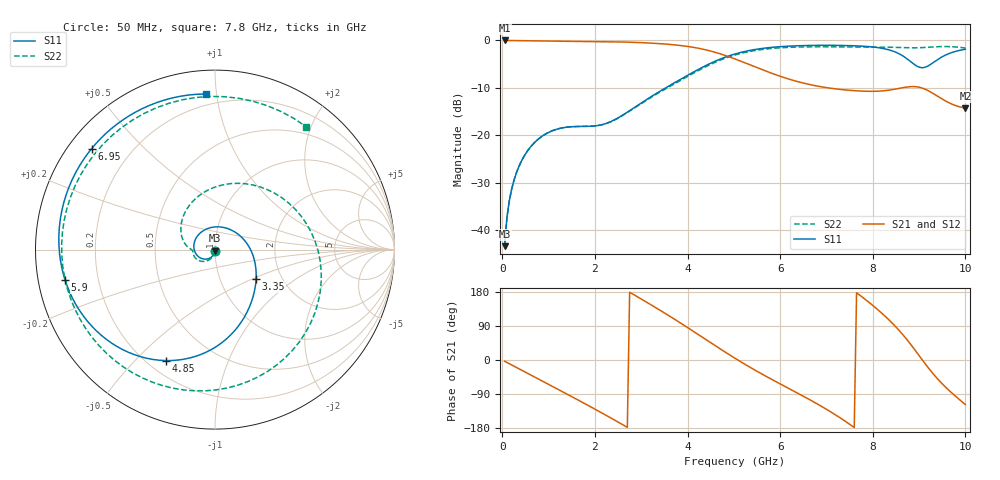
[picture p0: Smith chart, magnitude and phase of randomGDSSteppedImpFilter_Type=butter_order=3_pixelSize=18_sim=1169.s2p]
! freq	dB(S11)	phase(S11)	dB(S12)	phase(S12)
!  dB(S21)	phase(S21)	dB(S22)	phase(S22)
!S-par simulation data
#  GHz  S  DB  R 50
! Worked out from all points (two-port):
!   200 points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, 50 MHz to 10 GHz, reference 50 ohm
!   highest |S21| = -0.01 dB at 50 MHz (marker M1); lowest = -14.3 dB at 10 GHz (marker M2)
!   |S21| within 3 dB of the highest: start of sweep to 4.764 GHz
!   lowest |S11| = -43.4 dB at 50 MHz (marker M3), VSWR 1.01, Z = 50 - j0.677 ohm
!   |S11| at or under -10 dB: start of sweep to 3.529 GHz
!   |S22| runs from -43.4 to -1.3 dB; largest |S21 - S12| = 0
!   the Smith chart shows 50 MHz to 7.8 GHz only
!   S11 on the Smith chart (normalised r, x): 50 MHz: 1.00, -0.01; 3.35 GHz: 1.48, -0.52; 4.85 GHz: 0.27, -0.62; 5.9 GHz: 0.08, -0.10; 6.95 GHz: 0.07, +0.36; 7.8 GHz: 0.13, +0.94
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0.05  -43.39 -90.8  -0.01 -3.3  -0.01 -3.3  -43.37 -90.0
0.2  -31.46 -103.8  -0.03 -13.0  -0.03 -13.0  -31.44 -100.6
0.5  -23.95 -126.8  -0.06 -32.2  -0.06 -32.2  -23.94 -118.3
1.15  -18.80 -177.6  -0.15 -74.0  -0.15 -74.0  -18.80 -151.8
1.75  -18.14 125.2  -0.20 -113.0  -0.20 -113.0  -18.15 -173.1
2.6  -15.75 25.2  -0.33 -170.7  -0.33 -170.7  -15.82 171.6
3.35  -11.04 -35.3  -0.65 135.5  -0.65 135.5  -11.21 124.8
3.4  -10.74 -38.3  -0.68 131.8  -0.68 131.8  -10.92 120.4
4.15  -6.55 -77.3  -1.50 73.8  -1.50 73.8  -6.79 43.2
4.85  -3.40 -113.8  -3.29 18.0  -3.29 18.0  -3.62 -32.4
5.05  -2.79 -124.6  -4.00 2.7  -4.00 2.7  -3.00 -52.3
5.45  -1.92 -145.8  -5.54 -26.3  -5.54 -26.3  -2.14 -89.5
5.9  -1.39 -168.5  -7.22 -56.5  -7.22 -56.5  -1.62 -128.0
6.7  -1.05 153.0  -9.43 -108.9  -9.43 -108.9  -1.35 164.7
6.95  -1.03 140.8  -9.88 -126.4  -9.88 -126.4  -1.34 141.9
7.4  -1.07 117.3  -10.44 -161.1  -10.44 -161.1  -1.37 97.0
7.8  -1.23 93.2  -10.71 163.6  -10.71 163.6  -1.39 53.5
8.35  -1.99 46.7  -10.48 105.8  -10.48 105.8  -1.43 -5.7
8.7  -3.59 -4.7  -9.88 59.5  -9.88 59.5  -1.54 -38.9
9.05  -5.75 -95.2  -10.00 3.4  -10.00 3.4  -1.52 -67.3
9.4  -4.04 175.4  -11.78 -49.9  -11.78 -49.9  -1.32 -94.7
10  -1.86 102.3  -14.31 -117.6  -14.31 -117.6  -1.61 -145.5
